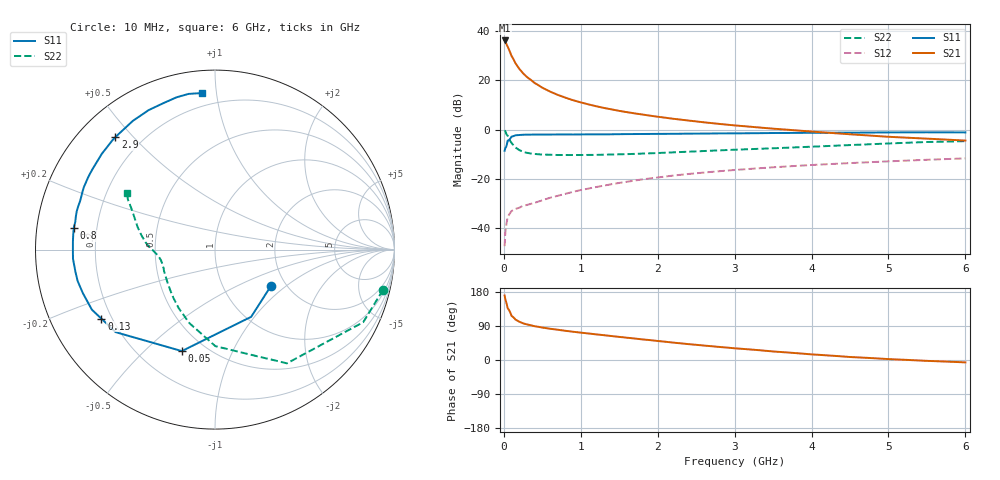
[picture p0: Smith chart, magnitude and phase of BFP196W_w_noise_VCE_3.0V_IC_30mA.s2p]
! (c) 2017  Infineon Technologies AG, Munich
! Infineon Technologies  Discrete & RF Semiconductors
! BFP196W
! VCE =  3.0 V,  IC =  30 mA
! Common Emitter S-Parameters:  Jan 2017
# GHz  S  MA  R  50
!  f  S11  S21  S12  S22
! GHz  MAG  ANG  MAG  ANG  MAG  ANG  MAG  ANG
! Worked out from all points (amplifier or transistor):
!   77 points, 10 MHz to 6 GHz, reference 50 ohm
!   highest |S21| = 36.2 dB at 10 MHz (marker M1)
!   |S21| within 3 dB of that: start of sweep to 56.99 MHz
!   unconditionally stable (mu >= 1): 813.2 MHz to 3.309 GHz
!   at 130 MHz: K = 0.32, MSG = 30.4 dB, |S12| = -32.5 dB
!   at 2.2 GHz: K = 1.05, MAG = 10.2 dB, |S12| = -18.7 dB
!   at 6 GHz: K = 0.95, MSG = 3.6 dB, |S12| = -11.7 dB
!   lowest NFmin = 1.13 dB at 450 MHz
!   S11 on the Smith chart (normalised r, x): 10 MHz: 1.68, -0.78; 50 MHz: 0.37, -0.66; 130 MHz: 0.16, -0.27; 800 MHz: 0.11, +0.08; 2.9 GHz: 0.11, +0.45; 6 GHz: 0.12, +0.91
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0.01  0.3716 -32.8  64.29 170.2  0.0043 79.9  0.9626 -13.5
0.02  0.4253 -61.7  61.39 159.7  0.0084 73.6  0.9196 -26.1
0.05  0.5949 -108.1  48.14 136.7  0.0168 52.5  0.7498 -57.7
0.1  0.7197 -140.3  31.26 116.6  0.0223 41.0  0.5378 -89.8
0.13  0.7408 -148.7  25.81 111.6  0.0236 38.1  0.4687 -100.4
0.15  0.7633 -154.0  22.33 107.0  0.0245 36.4  0.4339 -109.2
0.2  0.7752 -161.8  17.15 101.1  0.0259 37.4  0.3843 -121.7
0.25  0.7851 -167.1  13.88 96.8  0.0285 36.9  0.3547 -130.9
0.3  0.7873 -170.9  11.64 93.9  0.0295 39.3  0.3371 -137.6
0.4  0.7929 -176.3  8.817 89.1  0.0326 43.4  0.3197 -146.7
0.5  0.7918 179.7  7.067 85.6  0.0367 46.9  0.3113 -152.8
0.6  0.793 176.5  5.909 82.5  0.0413 49.1  0.3084 -157.0
0.7  0.7943 173.9  5.062 79.9  0.0452 52.9  0.3045 -160.1
0.8  0.796 171.2  4.439 77.1  0.0496 54.4  0.3045 -162.3
1.1  0.7995 164.5  3.244 70.0  0.0634 57.1  0.3057 -167.3
1.5  0.8054 156.5  2.394 61.0  0.0826 57.2  0.3145 -172.2
2.1  0.8178 145.0  1.738 48.2  0.1114 54.7  0.3392 -178.1
2.9  0.8364 131.6  1.257 32.8  0.1469 49.2  0.384 174.8
3.1  0.8395 128.5  1.178 29.4  0.1551 47.6  0.3951 172.9
4.1  0.8608 114.2  0.888 13.6  0.1944 39.8  0.4555 162.6
5.1  0.8755 103.3  0.701 1.5  0.2297 32.1  0.5292 152.8
6  0.8753 94.9  0.598 -6.3  0.2602 25.2  0.5813 147.4
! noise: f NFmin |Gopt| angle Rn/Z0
0.45  1.13  0.45  178  0.05
0.9  1.29  0.52  -176  0.06
1.9  2.14  0.68  -151  0.13
2.4  2.54  0.73  -146  0.22
